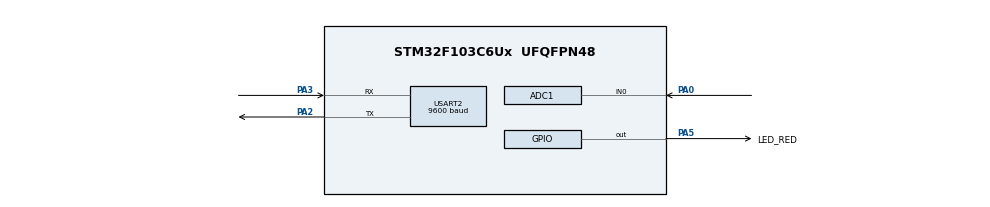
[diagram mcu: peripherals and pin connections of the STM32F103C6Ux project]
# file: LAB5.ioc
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ADC1.Channel-0\#ChannelRegularConversion=ADC_CHANNEL_0
ADC1.ContinuousConvMode=ENABLE
ADC1.NbrOfConversionFlag=1
ADC1.Rank-0\#ChannelRegularConversion=1
ADC1.SamplingTime-0\#ChannelRegularConversion=ADC_SAMPLETIME_1CYCLE_5
ADC1.master=1
Mcu.Family=STM32F1
Mcu.Name=STM32F103C6Ux
Mcu.Package=UFQFPN48
NVIC.ADC1_2_IRQn=true\:0\:0\:false\:false\:true\:true\:true
NVIC.PriorityGroup=NVIC_PRIORITYGROUP_4
NVIC.TIM2_IRQn=true\:0\:0\:false\:false\:true\:true\:true
NVIC.USART2_IRQn=true\:0\:0\:false\:false\:true\:true\:true
PA0-WKUP.Signal=ADCx_IN0
PA2.Mode=Asynchronous
PA2.Signal=USART2_TX
PA3.Mode=Asynchronous
PA3.Signal=USART2_RX
PA5.GPIO_Label=LED_RED
PA5.Signal=GPIO_Output
ProjectManager.HeapSize=0x200
ProjectManager.StackSize=0x400
ProjectManager.TargetToolchain=STM32CubeIDE
RCC.APB1Freq_Value=8000000
RCC.APB2Freq_Value=8000000
SH.ADCx_IN0.0=ADC1_IN0,IN0
TIM2.Period=10
TIM2.Prescaler=7999
USART2.BaudRate=9600
USART2.VirtualMode=VM_ASYNC
VP_SYS_VS_ND.Mode=No_Debug
VP_TIM2_VS_ClockSourceINT.Mode=Internal
board=custom

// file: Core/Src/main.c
/* USER CODE BEGIN Header */
/**
  ******************************************************************************
  * @file           : main.c
  * @brief          : Main program body
  ******************************************************************************
  * @attention
  *
  * <h2><center>&copy; Copyright (c) 2022 STMicroelectronics.
  * All rights reserved.</center></h2>
  *
  * This software component is licensed by ST under BSD 3-Clause license,
  * the "License"; You may not use this file except in compliance with the
  * License. You may obtain a copy of the License at:
  *                        opensource.org/licenses/BSD-3-Clause
  *
  ******************************************************************************
  */
/* USER CODE END Header */
#include "main.h"

/* USER CODE BEGIN Includes */
#include "software_time.h"
#include "global.h"
#include <stdio.h>
/* USER CODE END Includes */

ADC_HandleTypeDef hadc1;

TIM_HandleTypeDef htim2;

UART_HandleTypeDef huart2;

void SystemClock_Config(void);
static void MX_GPIO_Init(void);
static void MX_ADC1_Init(void);
static void MX_TIM2_Init(void);
static void MX_USART2_UART_Init(void);

/* USER CODE BEGIN 0 */
#define MAX_BUFFER_SIZE 30
uint8_t temp = 0;
uint8_t buffer[MAX_BUFFER_SIZE];
uint8_t index_buffer=0;
uint8_t buffer_flag=0;

 void HAL_UART_RxCpltCallback ( UART_HandleTypeDef * huart ) {
 if( huart -> Instance == USART2 ) {
	 HAL_UART_Transmit (& huart2 , & temp , 1 , 50) ;
	 buffer[index_buffer++]=temp;
	 if(index_buffer == MAX_BUFFER_SIZE){
		 index_buffer=0;
	 }
	 buffer_flag=1;
	 HAL_UART_Receive_IT (& huart2 , & temp , 1) ;
 }
 }
/* USER CODE END 0 */

int main(void)
{

  /* MCU Configuration--------------------------------------------------------*/

  /* Reset of all peripherals, Initializes the Flash interface and the Systick. */
  HAL_Init();

  /* Configure the system clock */
  SystemClock_Config();

  /* Initialize all configured peripherals */
  MX_GPIO_Init();
  MX_ADC1_Init();
  MX_TIM2_Init();
  MX_USART2_UART_Init();
  /* USER CODE BEGIN 2 */
  HAL_ADC_Start(&hadc1);
  HAL_TIM_Base_Start_IT(&htim2);
  /* USER CODE END 2 */

  /* Infinite loop */
  /* USER CODE BEGIN WHILE */
  HAL_UART_Receive_IT (&huart2 , &temp , 1) ;
  uint32_t ADC_value = 1234;
  char str[20];
  //init status for fsm
  int status_start=INIT;
  int status_end=INIT;
  int status_communication=INIT;
  //check message is ...!RST# or not
  void command_parser_fsm1(){
	  int index;
	  if(index_buffer==0) index=MAX_BUFFER_SIZE-1;
	  if(index_buffer!=0) index=index_buffer-1;
	  switch (status_start) {
		case INIT:
			if(buffer[index]=='!') status_start=_;
			break;
		case _:
			if(buffer[index]=='!') status_start=_;
			if(buffer[index]=='R') status_start=_R;
			if(buffer[index]!='!'&&buffer[index]!='R') status_start=INIT;
			break;
		case _R:
			if(buffer[index]=='S') status_start=_RS;
			if(buffer[index]!='S') status_start=INIT;
			break;
		case _RS:
			if(buffer[index]=='T') status_start=_RST;
			if(buffer[index]!='T') status_start=INIT;
			break;
		case _RST:
			if(buffer[index]=='#') {
				status_start=_RST_;
				status_communication=SEND;
			}
			if(buffer[index]!='#') status_start=0;
			break;
		case _RST_:
			if(buffer[index]=='!') status_start=_;
			if(buffer[index]!='!') status_start=INIT;
			break;
		default:
			break;
	}
  }
  //check message is ...!OK# or not
  void command_parser_fsm2(){
	  int index1;
	  if(index_buffer==0) index1=MAX_BUFFER_SIZE-1;
	  if(index_buffer!=0) index1=index_buffer-1;
	  switch (status_end) {
		case INIT:
			if(buffer[index1]=='!') status_end=_;
			break;
		case _:
			if(buffer[index1]=='!') status_end=_;
			else if(buffer[index1]=='O') status_end=_O;
			else status_end=INIT;
			break;
		case _O:
			if(buffer[index1]=='K') status_end=_OK;
			if(buffer[index1]!='K') status_end=INIT;
			break;
		case _OK:
			if(buffer[index1]=='#'){
				status_end=_OK_;
				status_communication=END;
			}
			if(buffer[index1]!='#') status_end=INIT;
			break;
		case _OK_:
			if(buffer[index1]=='!') status_end=_;
			if(buffer[index1]!='!') status_end=INIT;
			break;
		default:
			break;
	}
  }
  //communication with console
  void uart_communiation_fsm (){
	  switch(status_communication){
	  case INIT:
		  break;
	  case SEND:
		  if(timer1_flag==1){
		  		HAL_UART_Transmit(&huart2, (void*)str, sprintf(str, "\r\n!%ld#\r\n",ADC_value), 1000);
		  		HAL_GPIO_TogglePin(LED_RED_GPIO_Port, LED_RED_Pin);
		  		setTimer1(3000);
		  }
		  break;
	  case END:
		  HAL_UART_Transmit(&huart2, (void*)str, sprintf(str, "\r\n%s\r\n","END"), 1000);
		  status_communication=INIT;
		  break;
	  default:
		  break;
	  }
  }
  setTimer1(10);
  while (1)
  {
    /* USER CODE END WHILE */

    /* USER CODE BEGIN 3 */
	  if(buffer_flag == 1) {
	 		  command_parser_fsm1() ;
	 		  command_parser_fsm2() ;
	 		  buffer_flag = 0;
	  }
	  uart_communiation_fsm ();
  }
  /* USER CODE END 3 */
}

void SystemClock_Config(void)
{
  RCC_OscInitTypeDef RCC_OscInitStruct = {0};
  RCC_ClkInitTypeDef RCC_ClkInitStruct = {0};
  RCC_PeriphCLKInitTypeDef PeriphClkInit = {0};

  /** Initializes the RCC Oscillators according to the specified parameters
  * in the RCC_OscInitTypeDef structure.
  */
  RCC_OscInitStruct.OscillatorType = RCC_OSCILLATORTYPE_HSI;
  RCC_OscInitStruct.HSIState = RCC_HSI_ON;
  RCC_OscInitStruct.HSICalibrationValue = RCC_HSICALIBRATION_DEFAULT;
  RCC_OscInitStruct.PLL.PLLState = RCC_PLL_NONE;
  if (HAL_RCC_OscConfig(&RCC_OscInitStruct) != HAL_OK)
  {
    Error_Handler();
  }
  /** Initializes the CPU, AHB and APB buses clocks
  */
  RCC_ClkInitStruct.ClockType = RCC_CLOCKTYPE_HCLK|RCC_CLOCKTYPE_SYSCLK
                              |RCC_CLOCKTYPE_PCLK1|RCC_CLOCKTYPE_PCLK2;
  RCC_ClkInitStruct.SYSCLKSource = RCC_SYSCLKSOURCE_HSI;
  RCC_ClkInitStruct.AHBCLKDivider = RCC_SYSCLK_DIV1;
  RCC_ClkInitStruct.APB1CLKDivider = RCC_HCLK_DIV1;
  RCC_ClkInitStruct.APB2CLKDivider = RCC_HCLK_DIV1;

  if (HAL_RCC_ClockConfig(&RCC_ClkInitStruct, FLASH_LATENCY_0) != HAL_OK)
  {
    Error_Handler();
  }
  PeriphClkInit.PeriphClockSelection = RCC_PERIPHCLK_ADC;
  PeriphClkInit.AdcClockSelection = RCC_ADCPCLK2_DIV2;
  if (HAL_RCCEx_PeriphCLKConfig(&PeriphClkInit) != HAL_OK)
  {
    Error_Handler();
  }
}

static void MX_ADC1_Init(void)
{

  ADC_ChannelConfTypeDef sConfig = {0};

  /** Common config
  */
  hadc1.Instance = ADC1;
  hadc1.Init.ScanConvMode = ADC_SCAN_DISABLE;
  hadc1.Init.ContinuousConvMode = ENABLE;
  hadc1.Init.DiscontinuousConvMode = DISABLE;
  hadc1.Init.ExternalTrigConv = ADC_SOFTWARE_START;
  hadc1.Init.DataAlign = ADC_DATAALIGN_RIGHT;
  hadc1.Init.NbrOfConversion = 1;
  if (HAL_ADC_Init(&hadc1) != HAL_OK)
  {
    Error_Handler();
  }
  /** Configure Regular Channel
  */
  sConfig.Channel = ADC_CHANNEL_0;
  sConfig.Rank = ADC_REGULAR_RANK_1;
  sConfig.SamplingTime = ADC_SAMPLETIME_1CYCLE_5;
  if (HAL_ADC_ConfigChannel(&hadc1, &sConfig) != HAL_OK)
  {
    Error_Handler();
  }

}

static void MX_TIM2_Init(void)
{

  TIM_ClockConfigTypeDef sClockSourceConfig = {0};
  TIM_MasterConfigTypeDef sMasterConfig = {0};

  htim2.Instance = TIM2;
  htim2.Init.Prescaler = 7999;
  htim2.Init.CounterMode = TIM_COUNTERMODE_UP;
  htim2.Init.Period = 10;
  htim2.Init.ClockDivision = TIM_CLOCKDIVISION_DIV1;
  htim2.Init.AutoReloadPreload = TIM_AUTORELOAD_PRELOAD_DISABLE;
  if (HAL_TIM_Base_Init(&htim2) != HAL_OK)
  {
    Error_Handler();
  }
  sClockSourceConfig.ClockSource = TIM_CLOCKSOURCE_INTERNAL;
  if (HAL_TIM_ConfigClockSource(&htim2, &sClockSourceConfig) != HAL_OK)
  {
    Error_Handler();
  }
  sMasterConfig.MasterOutputTrigger = TIM_TRGO_RESET;
  sMasterConfig.MasterSlaveMode = TIM_MASTERSLAVEMODE_DISABLE;
  if (HAL_TIMEx_MasterConfigSynchronization(&htim2, &sMasterConfig) != HAL_OK)
  {
    Error_Handler();
  }

}

static void MX_USART2_UART_Init(void)
{

  huart2.Instance = USART2;
  huart2.Init.BaudRate = 9600;
  huart2.Init.WordLength = UART_WORDLENGTH_8B;
  huart2.Init.StopBits = UART_STOPBITS_1;
  huart2.Init.Parity = UART_PARITY_NONE;
  huart2.Init.Mode = UART_MODE_TX_RX;
  huart2.Init.HwFlowCtl = UART_HWCONTROL_NONE;
  huart2.Init.OverSampling = UART_OVERSAMPLING_16;
  if (HAL_UART_Init(&huart2) != HAL_OK)
  {
    Error_Handler();
  }

}

static void MX_GPIO_Init(void)
{
  GPIO_InitTypeDef GPIO_InitStruct = {0};

  /* GPIO Ports Clock Enable */
  __HAL_RCC_GPIOA_CLK_ENABLE();

  /*Configure GPIO pin Output Level */
  HAL_GPIO_WritePin(LED_RED_GPIO_Port, LED_RED_Pin, GPIO_PIN_RESET);

  /*Configure GPIO pin : LED_RED_Pin */
  GPIO_InitStruct.Pin = LED_RED_Pin;
  GPIO_InitStruct.Mode = GPIO_MODE_OUTPUT_PP;
  GPIO_InitStruct.Pull = GPIO_NOPULL;
  GPIO_InitStruct.Speed = GPIO_SPEED_FREQ_LOW;
  HAL_GPIO_Init(LED_RED_GPIO_Port, &GPIO_InitStruct);

}

/* USER CODE BEGIN 4 */
void HAL_TIM_PeriodElapsedCallback ( TIM_HandleTypeDef * htim ){
	timerRun();
}
/* USER CODE END 4 */

void Error_Handler(void)
{
  __disable_irq();
  while (1)
  {
  }
}

/************************ (C) COPYRIGHT STMicroelectronics *****END OF FILE****/
